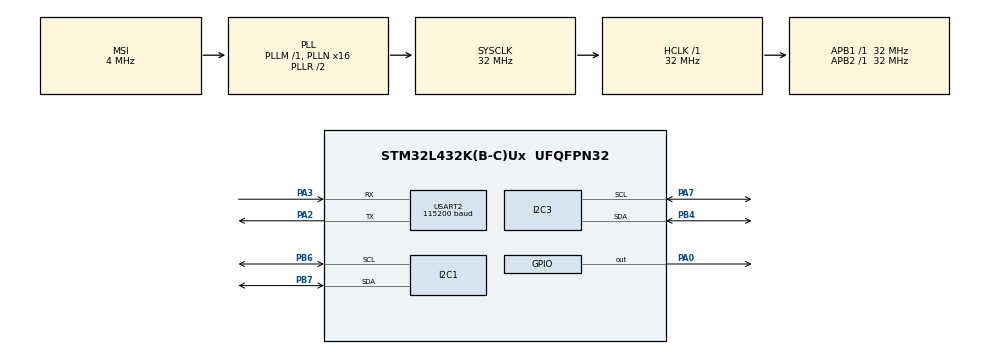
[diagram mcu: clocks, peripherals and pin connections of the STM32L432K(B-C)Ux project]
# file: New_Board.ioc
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I2C1.Timing=0x00707CBB
I2C3.Timing=0x00707CBB
Mcu.Family=STM32L4
Mcu.Name=STM32L432K(B-C)Ux
Mcu.Package=UFQFPN32
NVIC.PriorityGroup=NVIC_PRIORITYGROUP_4
NVIC.RTC_Alarm_IRQn=true\:0\:0\:false\:false\:true\:true\:true
PA0.Signal=GPIO_Output
PA13\ (JTMS-SWDIO).Mode=Serial_Wire
PA13\ (JTMS-SWDIO).Signal=SYS_JTMS-SWDIO
PA14\ (JTCK-SWCLK).Mode=Serial_Wire
PA14\ (JTCK-SWCLK).Signal=SYS_JTCK-SWCLK
PA2.Mode=Asynchronous
PA2.Signal=USART2_TX
PA3.Mode=Asynchronous
PA3.Signal=USART2_RX
PA7.Mode=I2C
PA7.Signal=I2C3_SCL
PB4\ (NJTRST).Mode=I2C
PB4\ (NJTRST).Signal=I2C3_SDA
PB6.Mode=I2C
PB6.Signal=I2C1_SCL
PB7.Mode=I2C
PB7.Signal=I2C1_SDA
PC14-OSC32_IN\ (PC14).Mode=LSE-External-Clock-Source
PC14-OSC32_IN\ (PC14).Signal=RCC_OSC32_IN
PC15-OSC32_OUT\ (PC15).Signal=RCC_OSC32_OUT
ProjectManager.HeapSize=0x200
ProjectManager.StackSize=0x400
ProjectManager.TargetToolchain=Makefile
RCC.AHBFreq_Value=32000000
RCC.APB1Freq_Value=32000000
RCC.APB1TimFreq_Value=32000000
RCC.APB2Freq_Value=32000000
RCC.APB2TimFreq_Value=32000000
RCC.CortexFreq_Value=32000000
RCC.HCLKFreq_Value=32000000
RCC.HSE_VALUE=8000000
RCC.HSI48_VALUE=48000000
RCC.HSI_VALUE=16000000
RCC.LSE_VALUE=32768
RCC.MSI_VALUE=4000000
RCC.PLLN=16
RCC.SYSCLKFreq_VALUE=32000000
RCC.SYSCLKSource=RCC_SYSCLKSOURCE_PLLCLK
RCC.VCOOutputFreq_Value=64000000
RTC.Alarm=RTC_ALARM_A
RTC.AlarmMaskDateWeekDay=RTC_ALARMMASK_DATEWEEKDAY
RTC.AlarmMaskHours=RTC_ALARMMASK_HOURS
RTC.Format=RTC_FORMAT_BIN
USART2.BaudRate=115200
USART2.VirtualMode-Asynchronous=VM_ASYNC
VP_RTC_VS_RTC_Activate.Mode=RTC_Enabled
VP_RTC_VS_RTC_Alarm_A_Intern.Mode=Alarm A
VP_RTC_VS_RTC_Calendar.Mode=RTC_Calendar
board=custom

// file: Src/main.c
/* USER CODE BEGIN Header */
/**
  ******************************************************************************
  * @file           : main.c
  * @brief          : Main program body
  ******************************************************************************
  ** This notice applies to any and all portions of this file
  * that are not between comment pairs USER CODE BEGIN and
  * USER CODE END. Other portions of this file, whether
  * inserted by the user or by software development tools
  * are owned by their respective copyright owners.
  *
  * COPYRIGHT(c) 2019 STMicroelectronics
  *
  * Redistribution and use in source and binary forms, with or without modification,
  * are permitted provided that the following conditions are met:
  *   1. Redistributions of source code must retain the above copyright notice,
  *      this list of conditions and the following disclaimer.
  *   2. Redistributions in binary form must reproduce the above copyright notice,
  *      this list of conditions and the following disclaimer in the documentation
  *      and/or other materials provided with the distribution.
  *   3. Neither the name of STMicroelectronics nor the names of its contributors
  *      may be used to endorse or promote products derived from this software
  *      without specific prior written permission.
  *
  * THIS SOFTWARE IS PROVIDED BY THE COPYRIGHT HOLDERS AND CONTRIBUTORS "AS IS"
  * AND ANY EXPRESS OR IMPLIED WARRANTIES, INCLUDING, BUT NOT LIMITED TO, THE
  * IMPLIED WARRANTIES OF MERCHANTABILITY AND FITNESS FOR A PARTICULAR PURPOSE ARE
  * DISCLAIMED. IN NO EVENT SHALL THE COPYRIGHT HOLDER OR CONTRIBUTORS BE LIABLE
  * FOR ANY DIRECT, INDIRECT, INCIDENTAL, SPECIAL, EXEMPLARY, OR CONSEQUENTIAL
  * DAMAGES (INCLUDING, BUT NOT LIMITED TO, PROCUREMENT OF SUBSTITUTE GOODS OR
  * SERVICES; LOSS OF USE, DATA, OR PROFITS; OR BUSINESS INTERRUPTION) HOWEVER
  * CAUSED AND ON ANY THEORY OF LIABILITY, WHETHER IN CONTRACT, STRICT LIABILITY,
  * OR TORT (INCLUDING NEGLIGENCE OR OTHERWISE) ARISING IN ANY WAY OUT OF THE USE
  * OF THIS SOFTWARE, EVEN IF ADVISED OF THE POSSIBILITY OF SUCH DAMAGE.
  *
  ******************************************************************************
  */
/* USER CODE END Header */

#include "main.h"

/* USER CODE BEGIN Includes */
#include "tsl25911.h"
#include "flash.h"
#include <stdio.h>
#include <stdlib.h>
#include <string.h>
#include "retarget.h"
/* USER CODE END Includes */

I2C_HandleTypeDef hi2c1;
I2C_HandleTypeDef hi2c3;

RTC_HandleTypeDef hrtc;

UART_HandleTypeDef huart2;

/* USER CODE BEGIN PV */
extern uint8_t led_state;
int callback=0;
int callbackflag=0;
int UartReady=0;
flash_status_t fs;
/* USER CODE END PV */

void SystemClock_Config(void);
static void MX_GPIO_Init(void);
static void MX_I2C3_Init(void);
static void MX_I2C1_Init(void);
static void MX_USART2_UART_Init(void);
static void MX_RTC_Init(void);

int main(void)
{
  /* USER CODE BEGIN 1 */
  HAL_StatusTypeDef status;
  uint8_t ch;
  uint8_t lon[] = "\n\rLED ON\n\r";
  uint8_t lof[] = "\n\rLED OFF\n\r";
  enum {OFF, ON};
  uint8_t state = OFF;
	uint8_t prompt[] = "\n\rEnter LOF, LON, or LUX to turn LED OFF/ON or report LUX data.\n\r";
	char command[3];
	uint8_t count = 0;
	uint8_t luxData[2];
	luxData[0] = 0x03;
	uint8_t control = 0xA0;
  uint8_t needLux = 0;
  uint32_t luxTick;
  uint32_t ledTick;
  uint8_t cmd=0;
  /* USER CODE END 1 */

  /* MCU Configuration--------------------------------------------------------*/

  /* Reset of all peripherals, Initializes the Flash interface and the Systick. */
  HAL_Init();

  /* Configure the system clock */
  SystemClock_Config();

  /* USER CODE BEGIN SysInit */
  RetargetInit(&huart2);
  SysTick_Config(SystemCoreClock/100);
  /* USER CODE END SysInit */

  /* Initialize all configured peripherals */
  MX_GPIO_Init();
  MX_I2C3_Init();
  MX_I2C1_Init();
  MX_USART2_UART_Init();
  MX_RTC_Init();
  /* USER CODE BEGIN 2 */

  HAL_GPIO_WritePin(LD3_GPIO_Port, LD3_Pin, GPIO_PIN_SET);//Turn LED ON, our LED logic is backwards
  flash_write_init(&fs); // Prevent weird behavior before we write
  //HAL_UART_Transmit(&huart2, prompt, 40, 10); //prompts user for input on first run
  printf("Enter a command.\n\r");

  /* USER CODE END 2 */

  /* Infinite loop */
  /* USER CODE BEGIN WHILE */
  while (1)
  {
    //printf("Looping\n\r");

    while (HAL_GetTick() < 100) { // Allows us to restart board to spit out information
      if ((status=HAL_UART_Receive(&huart2, (uint8_t *)command, 3, 5050)) == HAL_OK){
        //HAL_UART_Transmit(&huart2, (uint8_t *)command, 3, 1000);
      }
      if (strncmp(command, "RES", 3)==0){
        read_all_sensor_data(&fs);
      }
    }
    // Changed to write automatically every 30 seconds
    if (callbackflag==1){
      RTC_TimeTypeDef sTime;
      RTC_DateTypeDef sDate;
      HAL_RTC_GetTime(&hrtc, &sTime, RTC_FORMAT_BIN);
      HAL_RTC_GetDate(&hrtc, &sDate, RTC_FORMAT_BIN);
      int stat = flash_write_init(&fs);
      if (stat == -1){
        printf("\n\r need to erase flash\n\r");
      }
      uint32_t hours = sTime.Hours*10000;
      uint32_t minutes = sTime.Minutes*100;
      uint32_t seconds = sTime.Seconds;
      uint32_t time = hours+minutes+seconds;
      HAL_Delay(1);
      float currentLux = tsl25911_readsensor(&hi2c1);
      write_sensor_data(&fs, 1, 2, currentLux, time);

      //printf("\n\rTime is currently: %2d:%2d:%2d.\n\r", sTime.Hours, sTime.Minutes, sTime.Seconds);
      callbackflag=0;
      HAL_PWREx_EnterSTOP2Mode(PWR_STOPENTRY_WFI);
    }

    if (__HAL_UART_GET_FLAG(&huart2, UART_FLAG_RXNE)){
      if ((status=HAL_UART_Receive(&huart2, (uint8_t *)command, 3, 500)) == HAL_OK){
          HAL_UART_Transmit(&huart2, (uint8_t *)command, 3, 50);
        	if (strncmp(command, "LON", 3)==0){
			      HAL_GPIO_WritePin(LD3_GPIO_Port, LD3_Pin, GPIO_PIN_RESET);//Turn LED ON
			      state=ON;
          }
          if (strncmp(command, "LOF",3)==0){
            HAL_GPIO_WritePin(LD3_GPIO_Port, LD3_Pin, GPIO_PIN_SET); // Turn LED OFF
            state=OFF;
          }
          if (strncmp(command, "WRI", 3)==0){
            int stat = flash_write_init(&fs);
            if (stat == -1){
              printf("\n\r need to erase flash\n\r");
            }
            RTC_TimeTypeDef sTime;
            RTC_DateTypeDef sDate;
            HAL_RTC_GetTime(&hrtc, &sTime, RTC_FORMAT_BIN);
            HAL_RTC_GetDate(&hrtc, &sDate, RTC_FORMAT_BIN);
            uint32_t hours = sTime.Hours*10000;
            uint32_t minutes = sTime.Minutes*100;
            uint32_t seconds = sTime.Seconds;
            uint32_t time = hours+minutes+seconds;
            float lux = tsl25911_readsensor(&hi2c1);
            //printf("lux: %f\n\r", currentLux);
            write_sensor_data(&fs, 1, 2, lux, time);
          }
          if (strncmp(command, "REA", 3)==0){
            read_all_records(&fs);
          }
          if (strncmp(command, "RES", 3)==0){
            read_all_sensor_data(&fs);
          }
          if (strncmp(command, "ERF", 3)==0) {
            flash_erase();
          }

          if(strncmp(command, "LUX", 3)==0){//read and calculate and print lux data
            // needLux = 1;
            float lux = tsl25911_readsensor(&hi2c1);
            printf("Lux: %f\n\r", lux);
          }
          //Sets the RTC according to user input over serial
          if (strncmp(command, "RTC", 3)==0){
            RTC_TimeTypeDef sTime;
            RTC_DateTypeDef sDate;
            char inputTime[2];
            int inputSeconds;
            int inputMinutes;
            int inputHours;
            HAL_RTC_GetTime(&hrtc, &sTime, RTC_FORMAT_BIN);
            HAL_RTC_GetDate(&hrtc, &sDate, RTC_FORMAT_BIN);
            printf("Enter current hours: \n\r");
            HAL_UART_Receive(&huart2, (uint8_t*) inputTime, 2, HAL_MAX_DELAY);
            inputHours = atoi(inputTime);
            printf("Enter current minute: \n\r");
            HAL_UART_Receive(&huart2, (uint8_t*) inputTime, 2, HAL_MAX_DELAY);
            inputMinutes = atoi(inputTime);
            printf("Enter current seconds: \n\r");
            HAL_UART_Receive(&huart2, (uint8_t*) inputTime, 2, HAL_MAX_DELAY);
            inputSeconds= atoi(inputTime);
            sTime.Hours = (uint8_t)inputHours;
            sTime.Minutes = (uint8_t)inputMinutes;
            sTime.Seconds = (uint8_t)inputSeconds;
            HAL_RTC_SetTime(&hrtc, &sTime, RTC_FORMAT_BIN);
            HAL_RTC_SetDate(&hrtc, &sDate, RTC_FORMAT_BIN);
            HAL_RTC_GetTime(&hrtc, &sTime, RTC_FORMAT_BIN);
            HAL_RTC_GetDate(&hrtc, &sDate, RTC_FORMAT_BIN);
            printf("Time set to: %d:%d:%d.\n\r", sTime.Hours, sTime.Minutes, sTime.Seconds);
          }
      }
      __HAL_UART_CLEAR_FLAG(&huart2, UART_FLAG_RXNE);
      command[3]="000";
    }
    /* USER CODE END WHILE */

  }
}

void SystemClock_Config(void)
{
  RCC_OscInitTypeDef RCC_OscInitStruct = {0};
  RCC_ClkInitTypeDef RCC_ClkInitStruct = {0};
  RCC_PeriphCLKInitTypeDef PeriphClkInit = {0};

  /**Initializes the CPU, AHB and APB busses clocks
  */
  RCC_OscInitStruct.OscillatorType = RCC_OSCILLATORTYPE_LSI|RCC_OSCILLATORTYPE_LSE
                              |RCC_OSCILLATORTYPE_MSI;
  RCC_OscInitStruct.LSEState = RCC_LSE_BYPASS;
  RCC_OscInitStruct.LSIState = RCC_LSI_ON;
  RCC_OscInitStruct.MSIState = RCC_MSI_ON;
  RCC_OscInitStruct.MSICalibrationValue = 0;
  RCC_OscInitStruct.MSIClockRange = RCC_MSIRANGE_6;
  RCC_OscInitStruct.PLL.PLLState = RCC_PLL_ON;
  RCC_OscInitStruct.PLL.PLLSource = RCC_PLLSOURCE_MSI;
  RCC_OscInitStruct.PLL.PLLM = 1;
  RCC_OscInitStruct.PLL.PLLN = 16;
  RCC_OscInitStruct.PLL.PLLP = RCC_PLLP_DIV7;
  RCC_OscInitStruct.PLL.PLLQ = RCC_PLLQ_DIV2;
  RCC_OscInitStruct.PLL.PLLR = RCC_PLLR_DIV2;
  if (HAL_RCC_OscConfig(&RCC_OscInitStruct) != HAL_OK)
  {
    Error_Handler();
  }
  /**Initializes the CPU, AHB and APB busses clocks
  */
  RCC_ClkInitStruct.ClockType = RCC_CLOCKTYPE_HCLK|RCC_CLOCKTYPE_SYSCLK
                              |RCC_CLOCKTYPE_PCLK1|RCC_CLOCKTYPE_PCLK2;
  RCC_ClkInitStruct.SYSCLKSource = RCC_SYSCLKSOURCE_PLLCLK;
  RCC_ClkInitStruct.AHBCLKDivider = RCC_SYSCLK_DIV1;
  RCC_ClkInitStruct.APB1CLKDivider = RCC_HCLK_DIV1;
  RCC_ClkInitStruct.APB2CLKDivider = RCC_HCLK_DIV1;

  if (HAL_RCC_ClockConfig(&RCC_ClkInitStruct, FLASH_LATENCY_1) != HAL_OK)
  {
    Error_Handler();
  }
  PeriphClkInit.PeriphClockSelection = RCC_PERIPHCLK_RTC|RCC_PERIPHCLK_USART2
                              |RCC_PERIPHCLK_I2C1|RCC_PERIPHCLK_I2C3;
  PeriphClkInit.Usart2ClockSelection = RCC_USART2CLKSOURCE_PCLK1;
  PeriphClkInit.I2c1ClockSelection = RCC_I2C1CLKSOURCE_PCLK1;
  PeriphClkInit.I2c3ClockSelection = RCC_I2C3CLKSOURCE_PCLK1;
  PeriphClkInit.RTCClockSelection = RCC_RTCCLKSOURCE_LSI;
  if (HAL_RCCEx_PeriphCLKConfig(&PeriphClkInit) != HAL_OK)
  {
    Error_Handler();
  }
  /**Configure the main internal regulator output voltage
  */
  if (HAL_PWREx_ControlVoltageScaling(PWR_REGULATOR_VOLTAGE_SCALE1) != HAL_OK)
  {
    Error_Handler();
  }
  /**Enable MSI Auto calibration
  */
  HAL_RCCEx_EnableMSIPLLMode();
}

static void MX_I2C1_Init(void)
{

  hi2c1.Instance = I2C1;
  hi2c1.Init.Timing = 0x00707CBB;
  hi2c1.Init.OwnAddress1 = 0;
  hi2c1.Init.AddressingMode = I2C_ADDRESSINGMODE_7BIT;
  hi2c1.Init.DualAddressMode = I2C_DUALADDRESS_DISABLE;
  hi2c1.Init.OwnAddress2 = 0;
  hi2c1.Init.OwnAddress2Masks = I2C_OA2_NOMASK;
  hi2c1.Init.GeneralCallMode = I2C_GENERALCALL_DISABLE;
  hi2c1.Init.NoStretchMode = I2C_NOSTRETCH_DISABLE;
  if (HAL_I2C_Init(&hi2c1) != HAL_OK)
  {
    Error_Handler();
  }
  /**Configure Analogue filter
  */
  if (HAL_I2CEx_ConfigAnalogFilter(&hi2c1, I2C_ANALOGFILTER_ENABLE) != HAL_OK)
  {
    Error_Handler();
  }
  /**Configure Digital filter
  */
  if (HAL_I2CEx_ConfigDigitalFilter(&hi2c1, 0) != HAL_OK)
  {
    Error_Handler();
  }

}

static void MX_I2C3_Init(void)
{

  hi2c3.Instance = I2C3;
  hi2c3.Init.Timing = 0x00707CBB;
  hi2c3.Init.OwnAddress1 = 0;
  hi2c3.Init.AddressingMode = I2C_ADDRESSINGMODE_7BIT;
  hi2c3.Init.DualAddressMode = I2C_DUALADDRESS_DISABLE;
  hi2c3.Init.OwnAddress2 = 0;
  hi2c3.Init.OwnAddress2Masks = I2C_OA2_NOMASK;
  hi2c3.Init.GeneralCallMode = I2C_GENERALCALL_DISABLE;
  hi2c3.Init.NoStretchMode = I2C_NOSTRETCH_DISABLE;
  if (HAL_I2C_Init(&hi2c3) != HAL_OK)
  {
    Error_Handler();
  }
  /**Configure Analogue filter
  */
  if (HAL_I2CEx_ConfigAnalogFilter(&hi2c3, I2C_ANALOGFILTER_ENABLE) != HAL_OK)
  {
    Error_Handler();
  }
  /**Configure Digital filter
  */
  if (HAL_I2CEx_ConfigDigitalFilter(&hi2c3, 0) != HAL_OK)
  {
    Error_Handler();
  }

}

static void MX_RTC_Init(void)
{

  RTC_TimeTypeDef sTime = {0};
  RTC_DateTypeDef sDate = {0};
  RTC_AlarmTypeDef sAlarm = {0};

  /**Initialize RTC Only
  */
  hrtc.Instance = RTC;
  hrtc.Init.HourFormat = RTC_HOURFORMAT_24;
  hrtc.Init.AsynchPrediv = 127;
  hrtc.Init.SynchPrediv = 255;
  hrtc.Init.OutPut = RTC_OUTPUT_DISABLE;
  hrtc.Init.OutPutRemap = RTC_OUTPUT_REMAP_NONE;
  hrtc.Init.OutPutPolarity = RTC_OUTPUT_POLARITY_HIGH;
  hrtc.Init.OutPutType = RTC_OUTPUT_TYPE_OPENDRAIN;
  if (HAL_RTC_Init(&hrtc) != HAL_OK)
  {
    Error_Handler();
  }

  /**Initialize RTC and set the Time and Date
  */
  sTime.Hours = 0;
  sTime.Minutes = 0;
  sTime.Seconds = 0;
  sTime.DayLightSaving = RTC_DAYLIGHTSAVING_NONE;
  sTime.StoreOperation = RTC_STOREOPERATION_RESET;
  if (HAL_RTC_SetTime(&hrtc, &sTime, RTC_FORMAT_BIN) != HAL_OK)
  {
    Error_Handler();
  }
  sDate.WeekDay = RTC_WEEKDAY_MONDAY;
  sDate.Month = RTC_MONTH_JANUARY;
  sDate.Date = 1;
  sDate.Year = 0;

  if (HAL_RTC_SetDate(&hrtc, &sDate, RTC_FORMAT_BIN) != HAL_OK)
  {
    Error_Handler();
  }
  /**Enable the Alarm A
  */
  sAlarm.AlarmTime.Hours = 0;
  sAlarm.AlarmTime.Minutes = 0;
  sAlarm.AlarmTime.Seconds = 0;
  sAlarm.AlarmTime.SubSeconds = 0;
  sAlarm.AlarmTime.DayLightSaving = RTC_DAYLIGHTSAVING_NONE;
  sAlarm.AlarmTime.StoreOperation = RTC_STOREOPERATION_RESET;
  sAlarm.AlarmMask = RTC_ALARMMASK_DATEWEEKDAY|RTC_ALARMMASK_HOURS;
  sAlarm.AlarmSubSecondMask = RTC_ALARMSUBSECONDMASK_ALL;
  sAlarm.AlarmDateWeekDaySel = RTC_ALARMDATEWEEKDAYSEL_DATE;
  sAlarm.AlarmDateWeekDay = 1;
  sAlarm.Alarm = RTC_ALARM_A;
  if (HAL_RTC_SetAlarm_IT(&hrtc, &sAlarm, RTC_FORMAT_BIN) != HAL_OK)
  {
    Error_Handler();
  }

}

static void MX_USART2_UART_Init(void)
{

  huart2.Instance = USART2;
  huart2.Init.BaudRate = 115200;
  huart2.Init.WordLength = UART_WORDLENGTH_8B;
  huart2.Init.StopBits = UART_STOPBITS_1;
  huart2.Init.Parity = UART_PARITY_NONE;
  huart2.Init.Mode = UART_MODE_TX_RX;
  huart2.Init.HwFlowCtl = UART_HWCONTROL_NONE;
  huart2.Init.OverSampling = UART_OVERSAMPLING_16;
  huart2.Init.OneBitSampling = UART_ONE_BIT_SAMPLE_DISABLE;
  huart2.AdvancedInit.AdvFeatureInit = UART_ADVFEATURE_NO_INIT;
  if (HAL_UART_Init(&huart2) != HAL_OK)
  {
    Error_Handler();
  }

}

static void MX_GPIO_Init(void)
{
  GPIO_InitTypeDef GPIO_InitStruct = {0};

  /* GPIO Ports Clock Enable */
  __HAL_RCC_GPIOC_CLK_ENABLE();
  __HAL_RCC_GPIOA_CLK_ENABLE();
  __HAL_RCC_GPIOB_CLK_ENABLE();

  /*Configure GPIO pin Output Level */
  HAL_GPIO_WritePin(GPIOA, GPIO_PIN_0, GPIO_PIN_RESET);

  /*Configure GPIO pin : PA0 */
  GPIO_InitStruct.Pin = GPIO_PIN_0;
  GPIO_InitStruct.Mode = GPIO_MODE_OUTPUT_PP;
  GPIO_InitStruct.Pull = GPIO_NOPULL;
  GPIO_InitStruct.Speed = GPIO_SPEED_FREQ_LOW;
  HAL_GPIO_Init(GPIOA, &GPIO_InitStruct);

}

/* USER CODE BEGIN 4 */
void HAL_RTC_AlarmAEventCallback(RTC_HandleTypeDef *hrtc){
  __HAL_PWR_CLEAR_FLAG(PWR_FLAG_WU);
  callback+=1;
  printf("Alarm triggered\n\r");
  if (callback == 1){
  //5 seconds elapsed, flag for blinking LED and logging time
  callback=0;
  callbackflag=1;
  }
}
/* USER CODE END 4 */

void Error_Handler(void)
{
}

/************************ (C) COPYRIGHT STMicroelectronics *****END OF FILE****/
